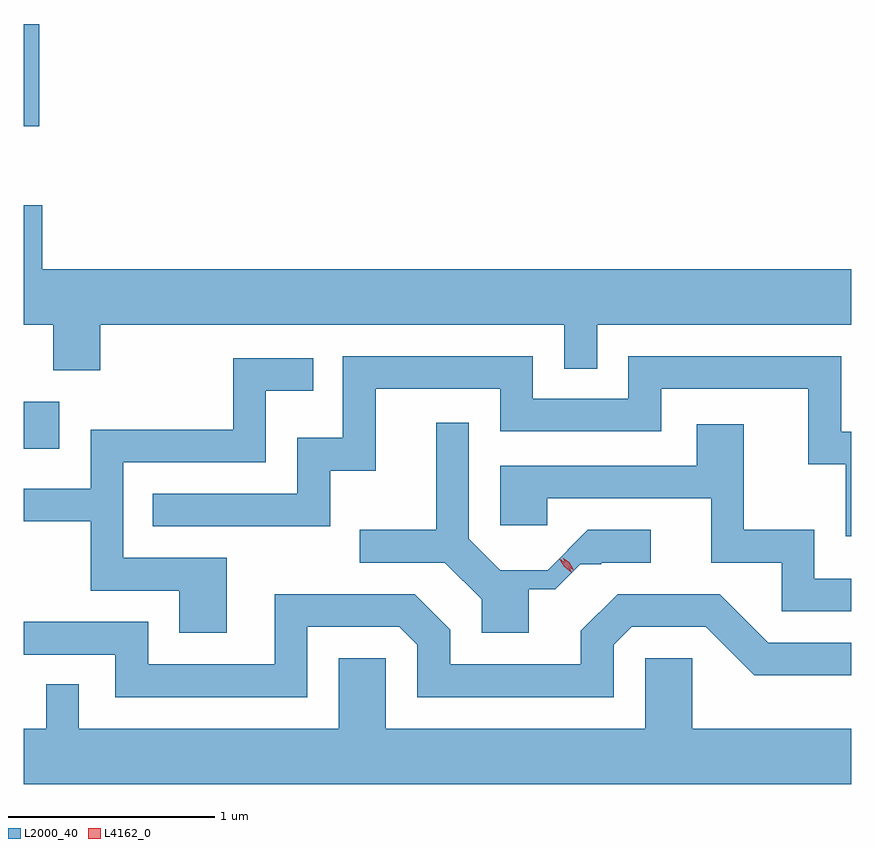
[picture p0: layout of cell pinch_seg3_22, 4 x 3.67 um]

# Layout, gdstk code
import gdstk
lib = gdstk.Library(unit=1e-6, precision=1e-09)
def R(c, l, rs):  # rectangles x0, y0, x1, y1
    for r in rs: c.add(gdstk.rectangle(r[:2], r[2:], *l))
def P(c, l, *ps):  # polygons
    for p in ps: c.add(gdstk.Polygon(p, *l))
L2000_40 = (2000, 40)
L4162_0 = (4162, 0)

pinch_seg3_22 = lib.new_cell('pinch_seg3_22')
R(pinch_seg3_22, L2000_40, [(1743.178,1129.856,1743.349,1130.084), (1743.178,1131.416,1743.254,1131.909)])
P(pinch_seg3_22, L2000_40, [(1743.549,1130.456),(1745.791,1130.456),(1745.791,1130.243),(1745.949,1130.243),(1745.949,1130.456),(1747.178,1130.456),(1747.178,1130.724),(1743.269,1130.724),(1743.269,1131.034),(1743.178,1131.034),(1743.178,1130.456),(1743.321,1130.456),(1743.321,1130.236),(1743.549,1130.236)],
  [(1747.178,1129.939),(1747.129,1129.939),(1747.129,1130.304),(1746.101,1130.304),(1746.101,1130.099),(1745.639,1130.099),(1745.639,1130.304),(1744.721,1130.304),(1744.721,1129.909),(1744.501,1129.909),(1744.501,1129.639),(1743.803,1129.639),(1743.803,1129.481),(1744.659,1129.481),(1744.659,1129.751),(1744.879,1129.751),(1744.879,1130.146),(1745.481,1130.146),(1745.481,1129.941),(1746.259,1129.941),(1746.259,1130.146),(1746.971,1130.146),(1746.971,1129.781),(1747.151,1129.781),(1747.151,1129.433),(1747.178,1129.433)],
  [(1744.159,1129.329),(1743.659,1129.329),(1743.659,1129.791),(1744.349,1129.791),(1744.349,1130.136),(1744.578,1130.136),(1744.578,1130.294),(1744.191,1130.294),(1744.191,1129.949),(1743.501,1129.949),(1743.501,1129.664),(1743.178,1129.664),(1743.178,1129.506),(1743.501,1129.506),(1743.501,1129.171),(1743.931,1129.171),(1743.931,1128.966),(1744.159,1128.966)],
  [(1745.619,1129.178),(1745.746,1129.178),(1745.867,1129.299),(1745.969,1129.299),(1745.969,1129.306),(1746.208,1129.306),(1746.208,1129.464),(1745.904,1129.464),(1745.71,1129.27),(1745.481,1129.27),(1745.329,1129.422),(1745.329,1129.983),(1745.171,1129.983),(1745.171,1129.464),(1744.803,1129.464),(1744.803,1129.306),(1745.214,1129.306),(1745.391,1129.129),(1745.391,1128.966),(1745.619,1128.966)],
  [(1747.178,1129.229),(1746.999,1129.229),(1746.999,1129.464),(1746.659,1129.464),(1746.659,1129.974),(1746.431,1129.974),(1746.431,1129.774),(1745.481,1129.774),(1745.481,1129.486),(1745.709,1129.486),(1745.709,1129.616),(1746.501,1129.616),(1746.501,1129.306),(1746.841,1129.306),(1746.841,1129.071),(1747.178,1129.071)],
  [(1744.549,1128.996),(1744.994,1128.996),(1745.081,1128.909),(1745.081,1128.656),(1746.029,1128.656),(1746.029,1128.909),(1746.117,1128.996),(1746.474,1128.996),(1746.709,1128.761),(1747.178,1128.761),(1747.178,1128.919),(1746.777,1128.919),(1746.542,1129.154),(1746.049,1129.154),(1745.871,1128.977),(1745.871,1128.814),(1745.239,1128.814),(1745.239,1128.982),(1745.067,1129.154),(1744.391,1129.154),(1744.391,1128.814),(1743.779,1128.814),(1743.779,1129.019),(1743.178,1129.019),(1743.178,1128.861),(1743.621,1128.861),(1743.621,1128.656),(1744.549,1128.656)],
  [(1747.178,1128.504),(1746.409,1128.504),(1746.409,1128.844),(1746.181,1128.844),(1746.181,1128.504),(1744.929,1128.504),(1744.929,1128.844),(1744.701,1128.844),(1744.701,1128.504),(1743.444,1128.504),(1743.444,1128.718),(1743.286,1128.718),(1743.286,1128.504),(1743.178,1128.504),(1743.178,1128.236),(1747.178,1128.236)])
P(pinch_seg3_22, L4162_0, [(1745.826,1129.258),(1745.79,1129.285),(1745.767,1129.324),(1745.767,1129.325),(1745.768,1129.325),(1745.804,1129.298),(1745.826,1129.259),(1745.826,1129.258)],
  [(1745.832,1129.272),(1745.8,1129.295),(1745.783,1129.33),(1745.783,1129.33),(1745.783,1129.33),(1745.815,1129.308),(1745.833,1129.273),(1745.833,1129.272)])

lib.write_gds('pinch_seg3_22.gds')
